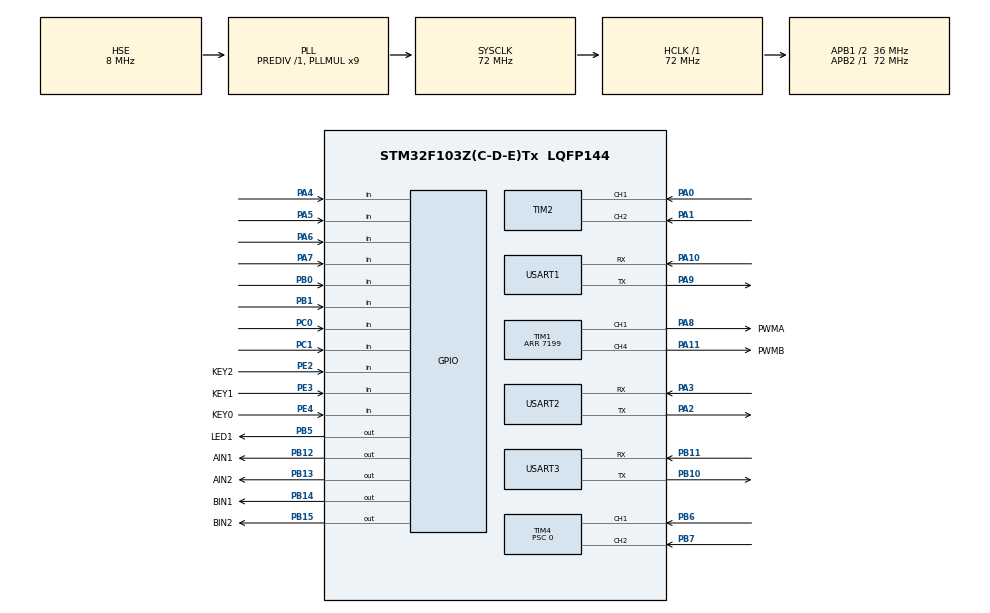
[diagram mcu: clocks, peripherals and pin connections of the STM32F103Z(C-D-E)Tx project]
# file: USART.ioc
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FREERTOS.Tasks01=Init_Task,2,128,Init_Function,Default,NULL,Dynamic,NULL,NULL;LED_Task,-3,128,LED_Function,Default,NULL,Dynamic,NULL,NULL;myTaskKEY,-3,128,StartTaskKEY,Default,NULL,Dynamic,NULL,NULL
Mcu.Family=STM32F1
Mcu.Name=STM32F103Z(C-D-E)Tx
Mcu.Package=LQFP144
NVIC.PriorityGroup=NVIC_PRIORITYGROUP_4
NVIC.TIM2_IRQn=true\:5\:0\:false\:false\:true\:true\:true\:true
NVIC.TIM3_IRQn=true\:5\:0\:false\:false\:true\:true\:true\:true
NVIC.TIM4_IRQn=true\:5\:0\:false\:false\:true\:true\:true\:true
NVIC.TIM8_UP_IRQn=true\:0\:0\:true\:false\:true\:false\:false\:true
NVIC.TimeBase=TIM8_UP_IRQn
NVIC.TimeBaseIP=TIM8
NVIC.USART1_IRQn=true\:5\:0\:false\:false\:true\:true\:true\:true
NVIC.USART2_IRQn=true\:5\:0\:false\:false\:true\:true\:true\:true
NVIC.USART3_IRQn=true\:5\:0\:false\:false\:true\:true\:true\:true
OSC_IN.Mode=HSE-External-Oscillator
OSC_IN.Signal=RCC_OSC_IN
OSC_OUT.Mode=HSE-External-Oscillator
OSC_OUT.Signal=RCC_OSC_OUT
PA0-WKUP.Signal=S_TIM2_CH1_ETR
PA1.Signal=S_TIM2_CH2
PA10.Mode=Asynchronous
PA10.Signal=USART1_RX
PA11.GPIO_Label=PWMB
PA11.Signal=S_TIM1_CH4
PA13.Mode=Serial_Wire
PA13.Signal=SYS_JTMS-SWDIO
PA14.Mode=Serial_Wire
PA14.Signal=SYS_JTCK-SWCLK
PA2.Mode=Asynchronous
PA2.Signal=USART2_TX
PA3.Mode=Asynchronous
PA3.Signal=USART2_RX
PA4.Signal=GPIO_Input
PA5.Signal=GPIO_Input
PA6.Signal=GPIO_Input
PA7.Signal=GPIO_Input
PA8.GPIO_Label=PWMA
PA8.Signal=S_TIM1_CH1
PA9.Mode=Asynchronous
PA9.Signal=USART1_TX
PB0.Signal=GPIO_Input
PB1.Signal=GPIO_Input
PB10.Mode=Asynchronous
PB10.Signal=USART3_TX
PB11.Mode=Asynchronous
PB11.Signal=USART3_RX
PB12.GPIO_Label=AIN1
PB12.GPIO_Speed=GPIO_SPEED_FREQ_MEDIUM
PB12.Signal=GPIO_Output
PB13.GPIO_Label=AIN2
PB13.GPIO_Speed=GPIO_SPEED_FREQ_MEDIUM
PB13.Signal=GPIO_Output
PB14.GPIO_Label=BIN1
PB14.GPIO_Speed=GPIO_SPEED_FREQ_MEDIUM
PB14.Signal=GPIO_Output
PB15.GPIO_Label=BIN2
PB15.GPIO_Speed=GPIO_SPEED_FREQ_MEDIUM
PB15.Signal=GPIO_Output
PB5.GPIO_Label=LED1
PB5.Signal=GPIO_Output
PB6.Signal=S_TIM4_CH1
PB7.Signal=S_TIM4_CH2
PC0.Signal=GPIO_Input
PC1.Signal=GPIO_Input
PE15.Signal=FSMC_D12_DA12
PE2.GPIO_Label=KEY2
PE2.Signal=GPIO_Input
PE3.GPIO_Label=KEY1
PE3.GPIO_PuPd=GPIO_PULLUP
PE3.Signal=GPIO_Input
PE4.GPIO_Label=KEY0
PE4.GPIO_PuPd=GPIO_PULLUP
PE4.Signal=GPIO_Input
ProjectManager.HeapSize=0x200
ProjectManager.StackSize=0x400
ProjectManager.TargetToolchain=MDK-ARM V5.32
RCC.AHBFreq_Value=72000000
RCC.APB1CLKDivider=RCC_HCLK_DIV2
RCC.APB1Freq_Value=36000000
RCC.APB1TimFreq_Value=72000000
RCC.APB2Freq_Value=72000000
RCC.APB2TimFreq_Value=72000000
RCC.HCLKFreq_Value=72000000
RCC.PLLMUL=RCC_PLL_MUL9
RCC.PLLSourceVirtual=RCC_PLLSOURCE_HSE
RCC.SYSCLKFreq_VALUE=72000000
RCC.SYSCLKSource=RCC_SYSCLKSOURCE_PLLCLK
RCC.USBFreq_Value=72000000
SH.FSMC_D12_DA12.0=FSMC_D12
SH.S_TIM1_CH1.0=TIM1_CH1,PWM Generation1 CH1
SH.S_TIM1_CH4.0=TIM1_CH4,PWM Generation4 CH4
SH.S_TIM2_CH1_ETR.0=TIM2_CH1,Encoder_Interface
SH.S_TIM2_CH2.0=TIM2_CH2,Encoder_Interface
SH.S_TIM4_CH1.0=TIM4_CH1,Encoder_Interface
SH.S_TIM4_CH2.0=TIM4_CH2,Encoder_Interface
TIM1.Channel-PWM\ Generation1\ CH1=TIM_CHANNEL_1
TIM1.Channel-PWM\ Generation4\ CH4=TIM_CHANNEL_4
TIM1.Period=7199
TIM2.EncoderMode=TIM_ENCODERMODE_TI12
TIM2.IC1Filter=10
TIM2.IC2Filter=10
TIM3.Period=7199
TIM3.Prescaler=99
TIM4.EncoderMode=TIM_ENCODERMODE_TI12
TIM4.IC1Filter=10
TIM4.IC2Filter=10
TIM4.Period=65535
TIM4.Prescaler=0
USART1.VirtualMode=VM_ASYNC
USART2.VirtualMode=VM_ASYNC
USART3.VirtualMode=VM_ASYNC
VP_FREERTOS_VS_CMSIS_V1.Mode=CMSIS_V1
VP_SYS_VS_tim8.Mode=TIM8
VP_TIM1_VS_ClockSourceINT.Mode=Internal
VP_TIM3_VS_ClockSourceINT.Mode=Internal
board=custom

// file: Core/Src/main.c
/* USER CODE BEGIN Header */
/**
  ******************************************************************************
  * @file           : main.c
  * @brief          : Main program body
  ******************************************************************************
  * @attention
  *
  * Copyright (c) 2023 STMicroelectronics.
  * All rights reserved.
  *
  * This software is licensed under terms that can be found in the LICENSE file
  * in the root directory of this software component.
  * If no LICENSE file comes with this software, it is provided AS-IS.
  *
  ******************************************************************************
  */
/* USER CODE END Header */
#include "main.h"
#include "cmsis_os.h"
#include "tim.h"
#include "usart.h"
#include "gpio.h"

void SystemClock_Config(void);
void MX_FREERTOS_Init(void);

int main(void)
{

  /* MCU Configuration--------------------------------------------------------*/

  /* Reset of all peripherals, Initializes the Flash interface and the Systick. */
  HAL_Init();

  /* Configure the system clock */
  SystemClock_Config();

  /* Initialize all configured peripherals */
  MX_GPIO_Init();
  MX_USART1_UART_Init();
  MX_USART2_UART_Init();
  MX_USART3_UART_Init();
  MX_TIM2_Init();
  MX_TIM3_Init();
  MX_TIM4_Init();
  MX_TIM1_Init();

  /* Call init function for freertos objects (in freertos.c) */
  MX_FREERTOS_Init();
  /* Start scheduler */
  osKernelStart();

  /* We should never get here as control is now taken by the scheduler */
  /* Infinite loop */
  while (1)
  {

  }
}

void SystemClock_Config(void)
{
  RCC_OscInitTypeDef RCC_OscInitStruct = {0};
  RCC_ClkInitTypeDef RCC_ClkInitStruct = {0};

  /** Initializes the RCC Oscillators according to the specified parameters
  * in the RCC_OscInitTypeDef structure.
  */
  RCC_OscInitStruct.OscillatorType = RCC_OSCILLATORTYPE_HSE;
  RCC_OscInitStruct.HSEState = RCC_HSE_ON;
  RCC_OscInitStruct.HSEPredivValue = RCC_HSE_PREDIV_DIV1;
  RCC_OscInitStruct.HSIState = RCC_HSI_ON;
  RCC_OscInitStruct.PLL.PLLState = RCC_PLL_ON;
  RCC_OscInitStruct.PLL.PLLSource = RCC_PLLSOURCE_HSE;
  RCC_OscInitStruct.PLL.PLLMUL = RCC_PLL_MUL9;
  if (HAL_RCC_OscConfig(&RCC_OscInitStruct) != HAL_OK)
  {
    Error_Handler();
  }
  /** Initializes the CPU, AHB and APB buses clocks
  */
  RCC_ClkInitStruct.ClockType = RCC_CLOCKTYPE_HCLK|RCC_CLOCKTYPE_SYSCLK
                              |RCC_CLOCKTYPE_PCLK1|RCC_CLOCKTYPE_PCLK2;
  RCC_ClkInitStruct.SYSCLKSource = RCC_SYSCLKSOURCE_PLLCLK;
  RCC_ClkInitStruct.AHBCLKDivider = RCC_SYSCLK_DIV1;
  RCC_ClkInitStruct.APB1CLKDivider = RCC_HCLK_DIV2;
  RCC_ClkInitStruct.APB2CLKDivider = RCC_HCLK_DIV1;

  if (HAL_RCC_ClockConfig(&RCC_ClkInitStruct, FLASH_LATENCY_2) != HAL_OK)
  {
    Error_Handler();
  }
}

void Error_Handler(void)
{
  __disable_irq();
  while (1)
  {
  }
}

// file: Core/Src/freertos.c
/* USER CODE BEGIN Header */
/**
  ******************************************************************************
  * File Name          : freertos.c
  * Description        : Code for freertos applications
  ******************************************************************************
  * @attention
  *
  * Copyright (c) 2023 STMicroelectronics.
  * All rights reserved.
  *
  * This software is licensed under terms that can be found in the LICENSE file
  * in the root directory of this software component.
  * If no LICENSE file comes with this software, it is provided AS-IS.
  *
  ******************************************************************************
  */
/* USER CODE END Header */

#include "FreeRTOS.h"
#include "task.h"
#include "main.h"
#include "cmsis_os.h"

osThreadId Init_TaskHandle;
osThreadId LED_TaskHandle;
osThreadId myTaskKEYHandle;

void Init_Function(void const * argument);
void LED_Function(void const * argument);
void StartTaskKEY(void const * argument);

void MX_FREERTOS_Init(void); /* (MISRA C 2004 rule 8.1) */

/* GetIdleTaskMemory prototype (linked to static allocation support) */
void vApplicationGetIdleTaskMemory( StaticTask_t **ppxIdleTaskTCBBuffer, StackType_t **ppxIdleTaskStackBuffer, uint32_t *pulIdleTaskStackSize );

/* USER CODE BEGIN GET_IDLE_TASK_MEMORY */
static StaticTask_t xIdleTaskTCBBuffer;
static StackType_t xIdleStack[configMINIMAL_STACK_SIZE];

void vApplicationGetIdleTaskMemory( StaticTask_t **ppxIdleTaskTCBBuffer, StackType_t **ppxIdleTaskStackBuffer, uint32_t *pulIdleTaskStackSize )
{
  *ppxIdleTaskTCBBuffer = &xIdleTaskTCBBuffer;
  *ppxIdleTaskStackBuffer = &xIdleStack[0];
  *pulIdleTaskStackSize = configMINIMAL_STACK_SIZE;
  /* place for user code */
}
/* USER CODE END GET_IDLE_TASK_MEMORY */

void MX_FREERTOS_Init(void) {

  /* Create the thread(s) */
  /* definition and creation of Init_Task */
  osThreadDef(Init_Task, Init_Function, osPriorityHigh, 0, 128);
  Init_TaskHandle = osThreadCreate(osThread(Init_Task), NULL);

  /* definition and creation of LED_Task */
  osThreadDef(LED_Task, LED_Function, osPriorityIdle, 0, 128);
  LED_TaskHandle = osThreadCreate(osThread(LED_Task), NULL);

  /* definition and creation of myTaskKEY */
  osThreadDef(myTaskKEY, StartTaskKEY, osPriorityIdle, 0, 128);
  myTaskKEYHandle = osThreadCreate(osThread(myTaskKEY), NULL);

}

void Init_Function(void const * argument)
{
  /* USER CODE BEGIN Init_Function */
  /* Infinite loop */
  for(;;)
  {
//		taskENTER_CRITICAL();
		HAL_UART_Receive_IT(&huart1, (uint8_t *)&aRxBuffer, 1);   //再开启接收中�?
		PID_Init();
		location_increment_target_val=Rpm_Encoder_Cnt(1);
		location_PID.target_val=Num_Encoder_Cnt(5);
		location_increment_target_val2=Rpm_Encoder_Cnt(1);
		location_PID2.target_val=Num_Encoder_Cnt(5);
		Motor_Start();
		Encoder_Start();
		control_Init();
		vTaskDelete(NULL);
//		taskEXIT_CRITICAL();            //�?出临界区
  }
  /* USER CODE END Init_Function */
}

void LED_Function(void const * argument)
{
  /* USER CODE BEGIN LED_Function */
  /* Infinite loop */
  for(;;)
  {
		if(led_flag==1)
		{
			LED1=0;
			osDelay(500);
			LED1=1;
			osDelay(500);
		}
		else if(led_flag==2)
		{
			LED2_ON();
			osDelay(500);
			LED2_OFF();
			osDelay(500);
		}
  }
  /* USER CODE END LED_Function */
}

void StartTaskKEY(void const * argument)
{
  /* USER CODE BEGIN StartTaskKEY */
  /* Infinite loop */
  for(;;)
  {
	static uint8_t key_up=1; //按键按松�?标志
	if(key_up && (K0==0 || K1==0 ))
	{
		osDelay(10);//(10); //去抖�?
		key_up=0;
		if(K0==0)
		{
			led_flag=1;
		}
		else if(K1==0)
		{
			led_flag=2;
		}
	}
	else if(K0==1 &&  K1==1 ) key_up=1;

  }
  /* USER CODE END StartTaskKEY */
}
